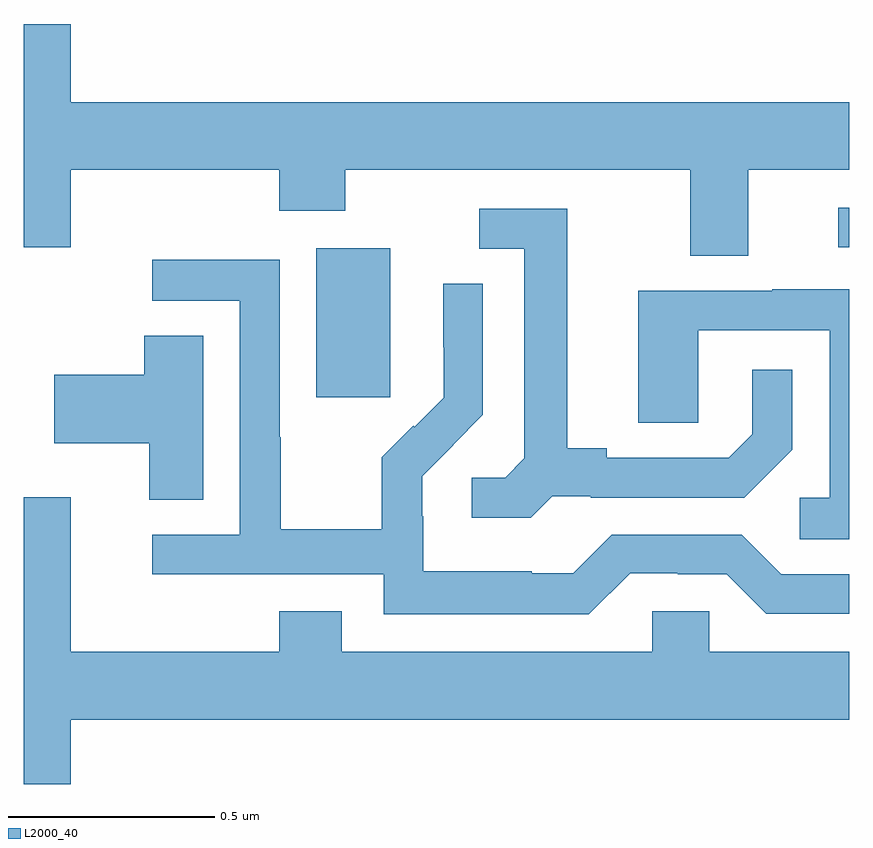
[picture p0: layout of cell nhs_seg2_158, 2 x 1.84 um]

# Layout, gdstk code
import gdstk
lib = gdstk.Library(unit=1e-6, precision=1e-09)
def R(c, l, rs):  # rectangles x0, y0, x1, y1
    for r in rs: c.add(gdstk.rectangle(r[:2], r[2:], *l))
def P(c, l, *ps):  # polygons
    for p in ps: c.add(gdstk.Polygon(p, *l))
L2000_40 = (2000, 40)

nhs_seg2_158 = lib.new_cell('nhs_seg2_158')
R(nhs_seg2_158, L2000_40, [(112.709,661.737,112.888,662.098), (113.973,662.1,114,662.196)])
P(nhs_seg2_158, L2000_40, [(113.755,662.288),(114,662.288),(114,662.452),(112.114,662.452),(112.114,662.641),(112,662.641),(112,662.1),(112.114,662.1),(112.114,662.288),(112.619,662.288),(112.619,662.189),(112.779,662.189),(112.779,662.288),(113.615,662.288),(113.615,662.08),(113.755,662.08)],
  [(113.28,661.497),(113.374,661.497),(113.374,661.494),(113.746,661.494),(113.862,661.61),(113.862,661.804),(113.765,661.804),(113.765,661.647),(113.708,661.59),(113.413,661.59),(113.413,661.613),(113.317,661.613),(113.317,662.193),(113.103,662.193),(113.103,662.097),(113.213,662.097),(113.213,661.589),(113.166,661.542),(113.085,661.542),(113.085,661.445),(113.228,661.445)],
  [(113.469,661.311),(113.585,661.311),(113.585,661.308),(113.703,661.308),(113.799,661.212),(114,661.212),(114,661.308),(113.835,661.308),(113.739,661.404),(113.424,661.404),(113.331,661.311),(113.231,661.311),(113.231,661.315),(112.968,661.315),(112.968,661.449),(112.966,661.449),(112.966,661.546),(113.04,661.62),(113.039,661.621),(113.112,661.694),(113.112,662.012),(113.016,662.012),(113.016,661.858),(113.018,661.858),(113.018,661.736),(112.947,661.665),(112.944,661.668),(112.867,661.591),(112.867,661.417),(112.623,661.417),(112.623,661.64),(112.62,661.64),(112.62,662.07),(112.311,662.07),(112.311,661.971),(112.524,661.971),(112.524,661.404),(112.311,661.404),(112.311,661.308),(112.872,661.308),(112.872,661.211),(113.369,661.211)],
  [(114,661.999),(113.813,661.999),(113.813,661.995),(113.489,661.995),(113.489,661.675),(113.634,661.675),(113.634,661.899),(113.952,661.899),(113.952,661.494),(113.88,661.494),(113.88,661.393),(114,661.393)],
  [(112.435,661.886),(112.292,661.886),(112.292,661.791),(112.074,661.791),(112.074,661.625),(112.304,661.625),(112.304,661.489),(112.435,661.489)],
  [(112.114,660.956),(114,660.956),(114,661.12),(113.661,661.12),(113.661,661.218),(113.523,661.218),(113.523,661.12),(112.771,661.12),(112.771,661.219),(112.619,661.219),(112.619,661.12),(112.114,661.12),(112.114,661.495),(112,661.495),(112,660.8),(112.114,660.8)])

lib.write_gds('nhs_seg2_158.gds')
